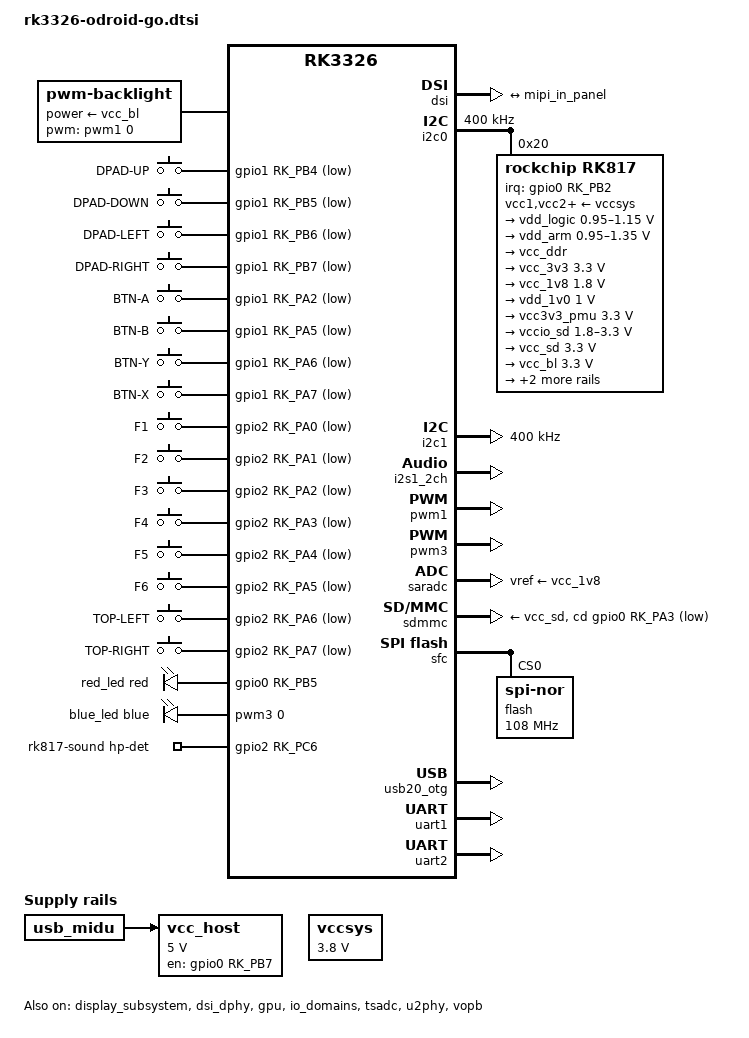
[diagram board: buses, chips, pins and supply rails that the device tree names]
// SPDX-License-Identifier: (GPL-2.0+ OR MIT)
/*
 * Copyright (c) 2019 Hardkernel Co., Ltd
 * Copyright (c) 2020 Theobroma Systems Design und Consulting GmbH
 * Copyright (c) 2022 Maya Matuszczyk <maccraft123mc@gmail.com>
 */

/dts-v1/;
#include <dt-bindings/gpio/gpio.h>
#include <dt-bindings/input/input.h>
#include <dt-bindings/leds/common.h>
#include <dt-bindings/pinctrl/rockchip.h>
#include "rk3326.dtsi"

/ {
	aliases {
		mmc0 = &sdmmc;
	};

	chosen {
		stdout-path = "serial2:115200n8";
	};

	backlight: backlight {
		compatible = "pwm-backlight";
		power-supply = <&vcc_bl>;
		pwms = <&pwm1 0 25000 0>;
	};

	builtin_gamepad: gpio-keys {
		compatible = "gpio-keys";
		pinctrl-names = "default";
		pinctrl-0 = <&btn_pins>;

		button-sw1 {
			gpios = <&gpio1 RK_PB4 GPIO_ACTIVE_LOW>;
			label = "DPAD-UP";
			linux,code = <BTN_DPAD_UP>;
		};
		button-sw2 {
			gpios = <&gpio1 RK_PB5 GPIO_ACTIVE_LOW>;
			label = "DPAD-DOWN";
			linux,code = <BTN_DPAD_DOWN>;
		};
		button-sw3 {
			gpios = <&gpio1 RK_PB6 GPIO_ACTIVE_LOW>;
			label = "DPAD-LEFT";
			linux,code = <BTN_DPAD_LEFT>;
		};
		button-sw4 {
			gpios = <&gpio1 RK_PB7 GPIO_ACTIVE_LOW>;
			label = "DPAD-RIGHT";
			linux,code = <BTN_DPAD_RIGHT>;
		};
		button-sw5 {
			gpios = <&gpio1 RK_PA2 GPIO_ACTIVE_LOW>;
			label = "BTN-A";
			linux,code = <BTN_EAST>;
		};
		button-sw6 {
			gpios = <&gpio1 RK_PA5 GPIO_ACTIVE_LOW>;
			label = "BTN-B";
			linux,code = <BTN_SOUTH>;
		};
		button-sw7 {
			gpios = <&gpio1 RK_PA6 GPIO_ACTIVE_LOW>;
			label = "BTN-Y";
			linux,code = <BTN_WEST>;
		};
		button-sw8 {
			gpios = <&gpio1 RK_PA7 GPIO_ACTIVE_LOW>;
			label = "BTN-X";
			linux,code = <BTN_NORTH>;
		};
		btn_f1: button-sw9 {
			gpios = <&gpio2 RK_PA0 GPIO_ACTIVE_LOW>;
			label = "F1";
			linux,code = <BTN_TRIGGER_HAPPY1>;
		};
		btn_f2: button-sw10 {
			gpios = <&gpio2 RK_PA1 GPIO_ACTIVE_LOW>;
			label = "F2";
			linux,code = <BTN_TRIGGER_HAPPY2>;
		};
		btn_f3: button-sw11 {
			gpios = <&gpio2 RK_PA2 GPIO_ACTIVE_LOW>;
			label = "F3";
			linux,code = <BTN_TRIGGER_HAPPY3>;
		};
		btn_f4: button-sw12 {
			gpios = <&gpio2 RK_PA3 GPIO_ACTIVE_LOW>;
			label = "F4";
			linux,code = <BTN_TRIGGER_HAPPY4>;
		};
		btn_f5: button-sw13 {
			gpios = <&gpio2 RK_PA4 GPIO_ACTIVE_LOW>;
			label = "F5";
			linux,code = <BTN_TRIGGER_HAPPY5>;
		};
		btn_f6: button-sw14 {
			gpios = <&gpio2 RK_PA5 GPIO_ACTIVE_LOW>;
			label = "F6";
			linux,code = <BTN_TRIGGER_HAPPY6>;
		};
		button-sw15 {
			gpios = <&gpio2 RK_PA6 GPIO_ACTIVE_LOW>;
			label = "TOP-LEFT";
			linux,code = <BTN_TL>;
		};
		button-sw16 {
			gpios = <&gpio2 RK_PA7 GPIO_ACTIVE_LOW>;
			label = "TOP-RIGHT";
			linux,code = <BTN_TR>;
		};
	};

	/* led-1 is wired directly to output of always-on regulator */

	gpio_led: gpio-leds {
		compatible = "gpio-leds";
		pinctrl-names = "default";
		pinctrl-0 = <&red_led_pin>;

		red_led: led-3 {
			color = <LED_COLOR_ID_RED>;
			gpios = <&gpio0 RK_PB5 GPIO_ACTIVE_HIGH>;
			function = LED_FUNCTION_CHARGING;
		};
	};

	pwm_led: led-controller {
		compatible = "pwm-leds";

		blue_led: led-2 {
			color = <LED_COLOR_ID_BLUE>;
			function = LED_FUNCTION_STATUS;
			linux,default-trigger = "heartbeat";
			max-brightness = <255>;
			pwms = <&pwm3 0 25000 0>;
		};
	};

	rk817-sound {
		compatible = "simple-audio-card";
		simple-audio-card,name = "rk817_int";
		simple-audio-card,format = "i2s";
		simple-audio-card,hp-det-gpio = <&gpio2 RK_PC6 GPIO_ACTIVE_HIGH>;
		simple-audio-card,mclk-fs = <256>;
		simple-audio-card,widgets =
			"Microphone", "Mic Jack",
			"Headphone", "Headphones",
			"Speaker", "Speaker";
		simple-audio-card,routing =
			"MICL", "Mic Jack",
			"Headphones", "HPOL",
			"Headphones", "HPOR",
			"Speaker", "SPKO";

		simple-audio-card,codec {
			sound-dai = <&rk817>;
		};

		simple-audio-card,cpu {
			sound-dai = <&i2s1_2ch>;
		};
	};

	vccsys: vccsys {
		compatible = "regulator-fixed";
		regulator-name = "vcc3v8_sys";
		regulator-always-on;
		regulator-min-microvolt = <3800000>;
		regulator-max-microvolt = <3800000>;
	};

	vcc_host: vcc_host {
		compatible = "regulator-fixed";
		regulator-name = "vcc_host";
		regulator-min-microvolt = <5000000>;
		regulator-max-microvolt = <5000000>;

		gpio = <&gpio0 RK_PB7 GPIO_ACTIVE_HIGH>;
		enable-active-high;
		regulator-always-on;
		regulator-boot-on;
		vin-supply = <&usb_midu>;
	};
};

&cpu0 {
	cpu-supply = <&vdd_arm>;
};

&cpu1 {
	cpu-supply = <&vdd_arm>;
};

&cpu2 {
	cpu-supply = <&vdd_arm>;
};

&cpu3 {
	cpu-supply = <&vdd_arm>;
};

&cru {
	assigned-clocks = <&cru PLL_NPLL>,
		<&cru ACLK_BUS_PRE>, <&cru ACLK_PERI_PRE>,
		<&cru HCLK_BUS_PRE>, <&cru HCLK_PERI_PRE>,
		<&cru PCLK_BUS_PRE>, <&cru SCLK_GPU>;

	assigned-clock-rates = <1188000000>,
		<200000000>, <200000000>,
		<150000000>, <150000000>,
		<100000000>, <200000000>;
};

&display_subsystem {
	status = "okay";
};

&dsi {
	status = "okay";

	ports {
		mipi_out: port@1 {
			reg = <1>;

			mipi_out_panel: endpoint {
				remote-endpoint = <&mipi_in_panel>;
			};
		};
	};

	internal_display: panel@0 {
		reg = <0>;
		backlight = <&backlight>;
		iovcc-supply = <&vcc_lcd>;
		reset-gpios = <&gpio3 RK_PC0 GPIO_ACTIVE_LOW>;
		rotation = <270>;
		vdd-supply = <&vcc_lcd>;

		port {
			mipi_in_panel: endpoint {
				remote-endpoint = <&mipi_out_panel>;
			};
		};
	};
};

&dsi_dphy {
	status = "okay";
};

&gpu {
	mali-supply = <&vdd_logic>;
	status = "okay";
};

&i2c0 {
	clock-frequency = <400000>;
	i2c-scl-falling-time-ns = <16>;
	i2c-scl-rising-time-ns = <280>;
	status = "okay";

	rk817: pmic@20 {
		compatible = "rockchip,rk817";
		reg = <0x20>;
		interrupt-parent = <&gpio0>;
		interrupts = <RK_PB2 IRQ_TYPE_LEVEL_LOW>;
		clock-output-names = "rk808-clkout1", "xin32k";
		clock-names = "mclk";
		clocks = <&cru SCLK_I2S1_OUT>;
		pinctrl-names = "default";
		pinctrl-0 = <&pmic_int>, <&i2s1_2ch_mclk>;
		wakeup-source;
		#clock-cells = <1>;
		#sound-dai-cells = <0>;

		vcc1-supply = <&vccsys>;
		vcc2-supply = <&vccsys>;
		vcc3-supply = <&vccsys>;
		vcc4-supply = <&vccsys>;
		vcc5-supply = <&vccsys>;
		vcc6-supply = <&vccsys>;
		vcc7-supply = <&vccsys>;
		vcc8-supply = <&vccsys>;

		regulators {
			vdd_logic: DCDC_REG1 {
				regulator-name = "vdd_logic";
				regulator-min-microvolt = <950000>;
				regulator-max-microvolt = <1150000>;
				regulator-ramp-delay = <6001>;
				regulator-always-on;
				regulator-boot-on;

				regulator-state-mem {
					regulator-on-in-suspend;
					regulator-suspend-microvolt = <950000>;
				};
			};

			vdd_arm: DCDC_REG2 {
				regulator-name = "vdd_arm";
				regulator-min-microvolt = <950000>;
				regulator-max-microvolt = <1350000>;
				regulator-ramp-delay = <6001>;
				regulator-always-on;
				regulator-boot-on;

				regulator-state-mem {
					regulator-off-in-suspend;
					regulator-suspend-microvolt = <950000>;
				};
			};

			vcc_ddr: DCDC_REG3 {
				regulator-name = "vcc_ddr";
				regulator-always-on;
				regulator-boot-on;

				regulator-state-mem {
					regulator-on-in-suspend;
				};
			};

			vcc_3v3: DCDC_REG4 {
				regulator-name = "vcc_3v3";
				regulator-min-microvolt = <3300000>;
				regulator-max-microvolt = <3300000>;
				regulator-always-on;
				regulator-boot-on;

				regulator-state-mem {
					regulator-off-in-suspend;
					regulator-suspend-microvolt = <3300000>;
				};
			};

			vcc_1v8: LDO_REG2 {
				regulator-name = "vcc_1v8";
				regulator-min-microvolt = <1800000>;
				regulator-max-microvolt = <1800000>;
				regulator-always-on;
				regulator-boot-on;

				regulator-state-mem {
					regulator-on-in-suspend;
					regulator-suspend-microvolt = <1800000>;
				};
			};

			vdd_1v0: LDO_REG3 {
				regulator-name = "vdd_1v0";
				regulator-min-microvolt = <1000000>;
				regulator-max-microvolt = <1000000>;
				regulator-always-on;
				regulator-boot-on;

				regulator-state-mem {
					regulator-on-in-suspend;
					regulator-suspend-microvolt = <1000000>;
				};
			};

			vcc3v3_pmu: LDO_REG4 {
				regulator-name = "vcc3v3_pmu";
				regulator-min-microvolt = <3300000>;
				regulator-max-microvolt = <3300000>;
				regulator-always-on;
				regulator-boot-on;

				regulator-state-mem {
					regulator-on-in-suspend;
					regulator-suspend-microvolt = <3300000>;
				};
			};

			vccio_sd: LDO_REG5 {
				regulator-name = "vccio_sd";
				regulator-min-microvolt = <1800000>;
				regulator-max-microvolt = <3300000>;
				regulator-always-on;
				regulator-boot-on;

				regulator-state-mem {
					regulator-on-in-suspend;
					regulator-suspend-microvolt = <3300000>;
				};
			};

			vcc_sd: LDO_REG6 {
				regulator-name = "vcc_sd";
				regulator-min-microvolt = <3300000>;
				regulator-max-microvolt = <3300000>;
				regulator-boot-on;

				regulator-state-mem {
					regulator-on-in-suspend;
					regulator-suspend-microvolt = <3300000>;
				};
			};

			vcc_bl: LDO_REG7 {
				regulator-name = "vcc_bl";
				regulator-min-microvolt = <3300000>;
				regulator-max-microvolt = <3300000>;

				regulator-state-mem {
					regulator-off-in-suspend;
					regulator-suspend-microvolt = <3300000>;
				};
			};

			vcc_lcd: LDO_REG8 {
				regulator-name = "vcc_lcd";
				regulator-min-microvolt = <2800000>;
				regulator-max-microvolt = <2800000>;

				regulator-state-mem {
					regulator-off-in-suspend;
					regulator-suspend-microvolt = <2800000>;
				};
			};

			LDO_REG9 {
				/* unused */
			};

			usb_midu: BOOST {
				regulator-name = "usb_midu";
				regulator-min-microvolt = <5000000>;
				regulator-max-microvolt = <5400000>;
				regulator-always-on;
				regulator-boot-on;
			};
		};

		rk817_charger: charger {
			rockchip,resistor-sense-micro-ohms = <10000>;
			rockchip,sleep-enter-current-microamp = <300000>;
			rockchip,sleep-filter-current-microamp = <100000>;
		};

		rk817_codec: codec {
			rockchip,mic-in-differential;
		};
	};
};

/* EXT Header(P2): 7(SCL:GPIO0.C2), 8(SDA:GPIO0.C3) */
&i2c1 {
	clock-frequency = <400000>;
	status = "okay";
};

/* I2S 1 Channel Used */
&i2s1_2ch {
	status = "okay";
};

&io_domains {
	vccio1-supply = <&vcc_3v3>;
	vccio2-supply = <&vccio_sd>;
	vccio3-supply = <&vcc_3v3>;
	vccio4-supply = <&vcc_3v3>;
	vccio5-supply = <&vcc_3v3>;
	vccio6-supply = <&vcc_3v3>;
	status = "okay";
};

&pmu_io_domains {
	pmuio1-supply = <&vcc3v3_pmu>;
	pmuio2-supply = <&vcc3v3_pmu>;
	status = "okay";
};

&pwm1 {
	status = "okay";
};

&pwm3 {
	status = "okay";
};

&saradc {
	vref-supply = <&vcc_1v8>;
	status = "okay";
};

&sdmmc {
	cap-sd-highspeed;
	card-detect-delay = <200>;
	cd-gpios = <&gpio0 RK_PA3 GPIO_ACTIVE_LOW>; /*[> CD GPIO <]*/
	sd-uhs-sdr12;
	sd-uhs-sdr25;
	sd-uhs-sdr50;
	sd-uhs-sdr104;
	vmmc-supply = <&vcc_sd>;
	vqmmc-supply = <&vccio_sd>;
	status = "okay";
};

&sfc {
	pinctrl-0 = <&sfc_clk &sfc_cs0 &sfc_bus2>;
	pinctrl-names = "default";
	#address-cells = <1>;
	#size-cells = <0>;
	status = "okay";

	flash@0 {
		compatible = "jedec,spi-nor";
		reg = <0>;
		spi-max-frequency = <108000000>;
		spi-rx-bus-width = <2>;
		spi-tx-bus-width = <1>;
	};
};

&tsadc {
	status = "okay";
};

&u2phy {
	status = "okay";

	u2phy_host: host-port {
		status = "okay";
	};

	u2phy_otg: otg-port {
		status = "disabled";
	};
};

&usb20_otg {
	status = "okay";
};

/* EXT Header(P2): 2(RXD:GPIO1.C0),3(TXD:.C1),4(CTS:.C2),5(RTS:.C3) */
&uart1 {
	pinctrl-names = "default";
	pinctrl-0 = <&uart1_xfer &uart1_cts>;
	status = "okay";
};

&uart2 {
	pinctrl-names = "default";
	pinctrl-0 = <&uart2m1_xfer>;
	status = "okay";
};

&vopb {
	status = "okay";
};

&vopb_mmu {
	status = "okay";
};

&pinctrl {
	btns {
		btn_pins: btn-pins {
			rockchip,pins = <1 RK_PA2 RK_FUNC_GPIO &pcfg_pull_up>,
					<1 RK_PA5 RK_FUNC_GPIO &pcfg_pull_up>,
					<1 RK_PA6 RK_FUNC_GPIO &pcfg_pull_up>,
					<1 RK_PA7 RK_FUNC_GPIO &pcfg_pull_up>,
					<1 RK_PB4 RK_FUNC_GPIO &pcfg_pull_up>,
					<1 RK_PB5 RK_FUNC_GPIO &pcfg_pull_up>,
					<1 RK_PB6 RK_FUNC_GPIO &pcfg_pull_up>,
					<1 RK_PB7 RK_FUNC_GPIO &pcfg_pull_up>,
					<2 RK_PA0 RK_FUNC_GPIO &pcfg_pull_up>,
					<2 RK_PA1 RK_FUNC_GPIO &pcfg_pull_up>,
					<2 RK_PA2 RK_FUNC_GPIO &pcfg_pull_up>,
					<2 RK_PA3 RK_FUNC_GPIO &pcfg_pull_up>,
					<2 RK_PA4 RK_FUNC_GPIO &pcfg_pull_up>,
					<2 RK_PA5 RK_FUNC_GPIO &pcfg_pull_up>,
					<2 RK_PA6 RK_FUNC_GPIO &pcfg_pull_up>,
					<2 RK_PA7 RK_FUNC_GPIO &pcfg_pull_up>;
		};
	};

	headphone {
		hp_det: hp-det {
			rockchip,pins = <2 RK_PC6 RK_FUNC_GPIO &pcfg_pull_down>;
		};
	};

	leds {
		red_led_pin: red-led-pin {
			rockchip,pins = <0 RK_PB5 RK_FUNC_GPIO &pcfg_pull_none>;
		};
	};

	pmic {
		dc_det: dc-det {
			rockchip,pins = <0 RK_PB3 RK_FUNC_GPIO &pcfg_pull_none>;
		};

		pmic_int: pmic-int {
			rockchip,pins = <0 RK_PB2 RK_FUNC_GPIO &pcfg_pull_up>;
		};

		soc_slppin_gpio: soc_slppin_gpio {
			rockchip,pins = <0 RK_PA4 RK_FUNC_GPIO &pcfg_output_low>;
		};

		soc_slppin_rst: soc_slppin_rst {
			rockchip,pins = <0 RK_PA4 2 &pcfg_pull_none>;
		};

		soc_slppin_slp: soc_slppin_slp {
			rockchip,pins = <0 RK_PA4 1 &pcfg_pull_none>;
		};
	};
};
